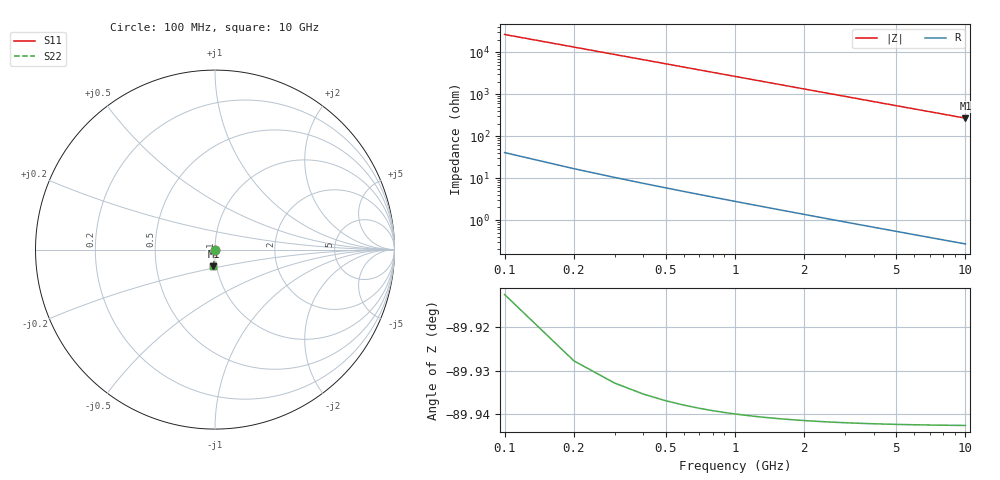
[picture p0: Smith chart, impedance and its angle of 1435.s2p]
# Hz S RI R 50.00
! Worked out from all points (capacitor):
!   100 points, 100 MHz to 10 GHz, reference 50 ohm
!   read as one part in shunt: C = 60 fF near 100 MHz
!   lowest |Z| = 268 ohm at 10 GHz (marker M1)
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1e8  -1.76e-06 -0.00094  1 -0.000943  1 -0.000943  -1.76e-06 -0.00094
2e8  -5.36e-06 -0.00188  1 -0.00189  1 -0.00189  -5.36e-06 -0.00188
3e8  -1.07e-05 -0.00282  1 -0.00283  1 -0.00283  -1.07e-05 -0.00282
4e8  -1.79e-05 -0.00376  1 -0.00377  1 -0.00377  -1.79e-05 -0.00376
5e8  -2.68e-05 -0.0047  1 -0.00472  1 -0.00472  -2.68e-05 -0.0047
6e8  -3.75e-05 -0.00564  1 -0.00566  1 -0.00566  -3.75e-05 -0.00564
7e8  -4.99e-05 -0.00658  0.9999 -0.0066  0.9999 -0.0066  -4.99e-05 -0.00658
8e8  -6.41e-05 -0.00752  0.9999 -0.00754  0.9999 -0.00754  -6.41e-05 -0.00752
9e8  -8.01e-05 -0.00846  0.9999 -0.00849  0.9999 -0.00849  -8.01e-05 -0.00846
1.1e9  -0.000117 -0.0103  0.9999 -0.0104  0.9999 -0.0104  -0.000117 -0.0103
1.4e9  -0.000187 -0.0131  0.9998 -0.0132  0.9998 -0.0132  -0.000187 -0.0131
1.8e9  -0.000303 -0.0169  0.9997 -0.017  0.9997 -0.017  -0.000303 -0.0169
2.1e9  -0.000409 -0.0197  0.9996 -0.0198  0.9996 -0.0198  -0.000409 -0.0197
2.5e9  -0.000575 -0.0234  0.9994 -0.0235  0.9994 -0.0235  -0.000575 -0.0234
2.9e9  -0.000769 -0.0272  0.9992 -0.0273  0.9992 -0.0273  -0.000769 -0.0272
3.4e9  -0.00105 -0.0318  0.9989 -0.0319  0.9989 -0.0319  -0.00105 -0.0318
4.2e9  -0.00159 -0.0393  0.9984 -0.0394  0.9984 -0.0394  -0.00159 -0.0393
5.1e9  -0.00232 -0.0476  0.9977 -0.0477  0.9977 -0.0477  -0.00232 -0.0476
5.9e9  -0.00309 -0.0549  0.9969 -0.0551  0.9969 -0.0551  -0.00309 -0.0549
6.7e9  -0.00397 -0.0623  0.996 -0.0625  0.996 -0.0625  -0.00397 -0.0623
8.4e9  -0.00618 -0.0778  0.9938 -0.078  0.9938 -0.078  -0.00618 -0.0778
1e10  -0.00869 -0.0922  0.9913 -0.0925  0.9913 -0.0925  -0.00869 -0.0922
